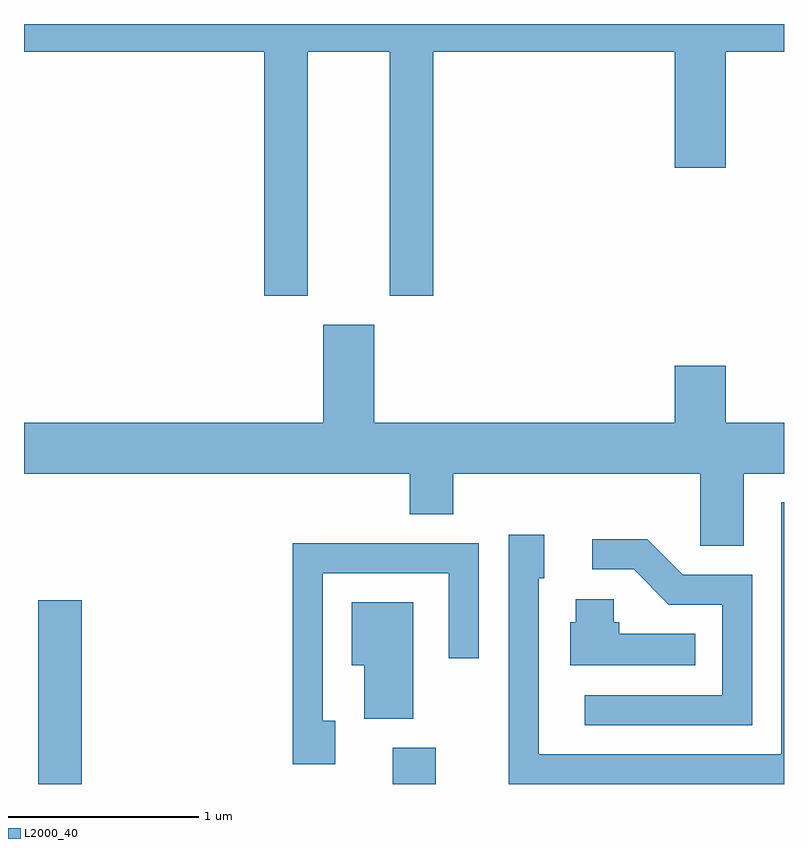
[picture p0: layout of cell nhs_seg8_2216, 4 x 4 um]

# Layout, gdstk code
import gdstk
lib = gdstk.Library(unit=1e-6, precision=1e-09)
def R(c, l, rs):  # rectangles x0, y0, x1, y1
    for r in rs: c.add(gdstk.rectangle(r[:2], r[2:], *l))
def P(c, l, *ps):  # polygons
    for p in ps: c.add(gdstk.Polygon(p, *l))
L2000_40 = (2000, 40)

nhs_seg8_2216 = lib.new_cell('nhs_seg8_2216')
R(nhs_seg8_2216, L2000_40, [(251.686,1830.342,251.914,1831.309), (253.551,1830.342,253.779,1830.534)])
P(nhs_seg8_2216, L2000_40, [(253.104,1834.196),(253.536,1834.196),(253.536,1832.911),(253.764,1832.911),(253.764,1834.196),(255.036,1834.196),(255.036,1833.586),(255.304,1833.586),(255.304,1834.196),(255.611,1834.196),(255.611,1834.342),(251.611,1834.342),(251.611,1834.196),(252.876,1834.196),(252.876,1832.911),(253.104,1832.911)],
  [(255.399,1831.976),(255.611,1831.976),(255.611,1832.244),(255.304,1832.244),(255.304,1832.544),(255.036,1832.544),(255.036,1832.244),(253.454,1832.244),(253.454,1832.759),(253.186,1832.759),(253.186,1832.244),(251.611,1832.244),(251.611,1831.976),(253.641,1831.976),(253.641,1831.761),(253.869,1831.761),(253.869,1831.976),(255.171,1831.976),(255.171,1831.596),(255.399,1831.596)],
  [(255.611,1831.824),(255.596,1831.824),(255.596,1830.499),(254.319,1830.499),(254.319,1831.426),(254.349,1831.426),(254.349,1831.654),(254.161,1831.654),(254.161,1830.342),(255.611,1830.342)],
  [(255.444,1831.444),(255.077,1831.444),(254.892,1831.629),(254.603,1831.629),(254.603,1831.471),(254.819,1831.471),(255.004,1831.286),(255.286,1831.286),(255.286,1830.809),(254.563,1830.809),(254.563,1830.651),(255.444,1830.651)],
  [(253.249,1830.674),(253.184,1830.674),(253.184,1831.451),(253.846,1831.451),(253.846,1831.003),(254.004,1831.003),(254.004,1831.609),(253.026,1831.609),(253.026,1830.446),(253.249,1830.446)],
  [(255.143,1831.134),(254.744,1831.134),(254.744,1831.194),(254.714,1831.194),(254.714,1831.314),(254.516,1831.314),(254.516,1831.194),(254.486,1831.194),(254.486,1830.966),(255.143,1830.966)],
  [(253.659,1831.299),(253.336,1831.299),(253.336,1830.966),(253.401,1830.966),(253.401,1830.686),(253.659,1830.686)])

lib.write_gds('nhs_seg8_2216.gds')
